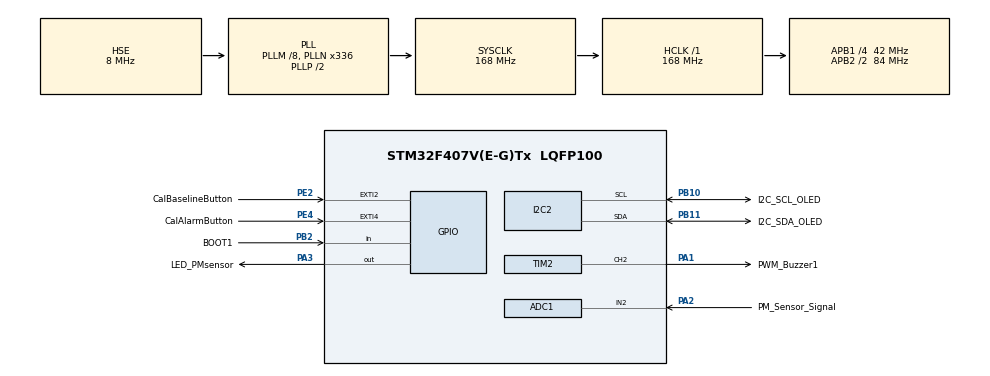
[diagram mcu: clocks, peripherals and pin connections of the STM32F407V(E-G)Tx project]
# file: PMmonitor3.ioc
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Mcu.Family=STM32F4
PH0-OSC_IN.Signal=RCC_OSC_IN
RCC.CortexFreq_Value=168000000
PB10.Mode=I2C
SH.ADCx_IN2.0=ADC1_IN2,IN2
PA14.GPIO_Label=SWCLK
TIM2.Channel-PWM\ Generation2\ CH2=TIM_CHANNEL_2
PB11.Signal=I2C2_SDA
RCC.SYSCLKSource=RCC_SYSCLKSOURCE_PLLCLK
ProjectManager.StackSize=0x400
RCC.HCLKFreq_Value=168000000
RCC.APB2TimFreq_Value=168000000
RCC.AHBFreq_Value=168000000
PH0-OSC_IN.Mode=HSE-External-Oscillator
PH0-OSC_IN.GPIO_Label=PH0-OSC_IN
ADC1.Channel-0\#ChannelRegularConversion=ADC_CHANNEL_2
RCC.HSE_VALUE=8000000
PB2.Signal=GPIO_Input
PA14.Mode=Serial_Wire
PE4.GPIO_Label=CalAlarmButton
PE2.Signal=GPXTI2
PE4.Signal=GPXTI4
PB2.GPIO_PuPd=GPIO_NOPULL
ADC1.SamplingTime-0\#ChannelRegularConversion=ADC_SAMPLETIME_3CYCLES
PH1-OSC_OUT.Mode=HSE-External-Oscillator
Mcu.Package=LQFP100
TIM2.Prescaler=160
PA2.GPIO_Label=PM_Sensor_Signal
TIM2.Pulse-PWM\ Generation2\ CH2=127
RCC.APB2CLKDivider=RCC_HCLK_DIV2
NVIC.EXTI2_IRQn=true\:0\:0\:false\:false\:true\:true\:true
RCC.APB1TimFreq_Value=84000000
I2C2.I2C_Mode=I2C_Fast
PE2.GPIO_Label=CalBaselineButton
PA3.Signal=GPIO_Output
PB3.GPIO_Label=SWO
RCC.PLLSourceVirtual=RCC_PLLSOURCE_HSE
NVIC.EXTI4_IRQn=true\:0\:0\:false\:false\:true\:true\:true
ADC1.Rank-0\#ChannelRegularConversion=1
PE4.GPIO_ModeDefaultEXTI=GPIO_MODE_IT_FALLING
PB11.GPIO_Label=I2C_SDA_OLED
RCC.APB1CLKDivider=RCC_HCLK_DIV4
PA13.Signal=SYS_JTMS-SWDIO
SH.S_TIM2_CH2.0=TIM2_CH2,PWM Generation2 CH2
PB11.Mode=I2C
ProjectManager.TargetToolchain=STM32CubeIDE
PB10.GPIO_Label=I2C_SCL_OLED
RCC.LSE_VALUE=32768
PA1.Signal=S_TIM2_CH2
PB10.Signal=I2C2_SCL
PE2.GPIO_PuPd=GPIO_PULLUP
board=STM32F407G-DISC1
RCC.VCOOutputFreq_Value=336000000
RCC.APB2Freq_Value=84000000
PB2.GPIO_Mode=GPIO_MODE_INPUT
VP_TIM2_VS_ClockSourceINT.Mode=Internal
PA1.GPIO_Label=PWM_Buzzer1
PH1-OSC_OUT.Signal=RCC_OSC_OUT
PH1-OSC_OUT.GPIO_Label=PH1-OSC_OUT
TIM2.Period=255
PA13.Mode=Serial_Wire
Mcu.Name=STM32F407V(E-G)Tx
PA13.GPIO_Label=SWDIO
PA2.Signal=ADCx_IN2
PE4.GPIO_PuPd=GPIO_PULLUP
RCC.48MHZClocksFreq_Value=48000000
PB3.Signal=SYS_JTDO-SWO
RCC.SYSCLKFreq_VALUE=168000000
ADC1.master=1
PA14.Signal=SYS_JTCK-SWCLK
PB2.GPIO_Label=BOOT1
ProjectManager.HeapSize=0x200
RCC.HSI_VALUE=16000000
RCC.PLLQ=7
NVIC.PriorityGroup=NVIC_PRIORITYGROUP_0
ADC1.NbrOfConversionFlag=1
RCC.PLLM=8
RCC.PLLN=336
TIM2.AutoReloadPreload=TIM_AUTORELOAD_PRELOAD_ENABLE
PE2.GPIO_ModeDefaultEXTI=GPIO_MODE_IT_FALLING
RCC.APB1Freq_Value=42000000
PA3.GPIO_Label=LED_PMsensor

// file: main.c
/* USER CODE BEGIN Header */
/**
  ******************************************************************************
  * @file           : main.c
  * @brief          : Main program body
  ******************************************************************************
  * @attention
  *
  * <h2><center>&copy; Copyright (c) 2022 STMicroelectronics.
  * All rights reserved.</center></h2>
  *
  * This software component is licensed by ST under Ultimate Liberty license
  * SLA0044, the "License"; You may not use this file except in compliance with
  * the License. You may obtain a copy of the License at:
  *                             www.st.com/SLA0044
  *
  ******************************************************************************
  */
/* USER CODE END Header */
#include "main.h"
#include "adc.h"
#include "i2c.h"
#include "tim.h"
#include "gpio.h"

void SystemClock_Config(void);

int main(void)
{
  /* USER CODE BEGIN 1 */
//uint16_t raw;
//char msg[10];
//char modeData[10];
  /* USER CODE END 1 */

  /* MCU Configuration--------------------------------------------------------*/

  /* Reset of all peripherals, Initializes the Flash interface and the Systick. */
  HAL_Init();

  /* USER CODE BEGIN Init */

mode = START;
  /* USER CODE END Init */

  /* Configure the system clock */
  SystemClock_Config();

  /* Initialize all configured peripherals */
  MX_GPIO_Init();
  MX_I2C2_Init();
  MX_TIM2_Init();
  MX_ADC1_Init();

  /* Infinite loop */
  /* USER CODE BEGIN WHILE */
  while (1)
  {
	  /*HAL_GPIO_WritePin(GPIOA,GPIO_PIN_3, GPIO_PIN_RESET);
	  HAL_Delay(280);
	  HAL_ADC_Start(&hadc1);
	  HAL_ADC_PollForConversion(&hadc1, HAL_MAX_DELAY);
	  HAL_GPIO_WritePin(GPIOA,GPIO_PIN_3, GPIO_PIN_SET);

	  raw = HAL_ADC_GetValue(&hadc1);

*/
	 /* takeAveMeasurement(GPIOA, GPIO_PIN_3, &hadc1, 5);

	  sprintf(msg, "%hu", aveMeasurement);
	  	  SSD1306_Clear();
	  	  SSD1306_GotoXY (10,10); // goto 10, 10
	  	  SSD1306_Puts(msg, &Font_7x10, 1);
	  	  //SSD1306_UpdateScreen(); // update screen

	  	  sprintf(modeData, "%hu", mode);
	  	  SSD1306_GotoXY (10,30); // goto 10, 10
	  	  SSD1306_Puts(modeData, &Font_7x10, 1);
	  	  SSD1306_UpdateScreen(); // update screen */

switch (mode){

	case (START):
		  SSD1306_Init (); // initialize the display
		  SSD1306_GotoXY (10,10); // goto 10, 10
		  SSD1306_Puts ("LCD & Buzzer", &Font_11x18, 1); // Display startup test text
		  SSD1306_GotoXY (10, 30);
		  SSD1306_Puts ("Test", &Font_11x18, 1);
		  SSD1306_UpdateScreen(); // update screen

		  HAL_Delay(200);
		  HAL_TIM_PWM_Start(&htim2, TIM_CHANNEL_2); // Perform startup buzzer test
		  HAL_Delay(50);
		  HAL_TIM_PWM_Stop(&htim2, TIM_CHANNEL_2);
		  SSD1306_Clear();
		  mode = MEASURE; // go to measure mode
		  break;
	case (MEASURE):
		takeAveMeasurement(GPIOA, GPIO_PIN_3, &hadc1, numSamples); // take an average PM measurement
		showData();  // update screen
		if(aveMeasurement >= alarmLevel)			// if sample is above alarm level, sound alarm
		{
			alarm();
		}
		break;
	case (CAL_BASELINE):						// baseline cal mode initiated via push button GPIO interrupt
		takeBaseline(GPIOA, GPIO_PIN_3, &hadc1, numAverages);	// take average of many samples and store as baseline
		showData();
		mode = MEASURE;
		break;
	case (CAL_ALARM_LEVEL):						// alarm level cal mode initiated via push button GPIO interrupt
		storeAlarmLevel(GPIOA, GPIO_PIN_3, &hadc1, numAverages);	//take average of many samples and store as alarm threshold
		showData();
		mode = MEASURE;
		break;
}

    /* USER CODE END WHILE */

  }
}

void SystemClock_Config(void)
{
  RCC_OscInitTypeDef RCC_OscInitStruct = {0};
  RCC_ClkInitTypeDef RCC_ClkInitStruct = {0};

  /** Configure the main internal regulator output voltage
  */
  __HAL_RCC_PWR_CLK_ENABLE();
  __HAL_PWR_VOLTAGESCALING_CONFIG(PWR_REGULATOR_VOLTAGE_SCALE1);
  /** Initializes the RCC Oscillators according to the specified parameters
  * in the RCC_OscInitTypeDef structure.
  */
  RCC_OscInitStruct.OscillatorType = RCC_OSCILLATORTYPE_HSE;
  RCC_OscInitStruct.HSEState = RCC_HSE_ON;
  RCC_OscInitStruct.PLL.PLLState = RCC_PLL_ON;
  RCC_OscInitStruct.PLL.PLLSource = RCC_PLLSOURCE_HSE;
  RCC_OscInitStruct.PLL.PLLM = 8;
  RCC_OscInitStruct.PLL.PLLN = 336;
  RCC_OscInitStruct.PLL.PLLP = RCC_PLLP_DIV2;
  RCC_OscInitStruct.PLL.PLLQ = 7;
  if (HAL_RCC_OscConfig(&RCC_OscInitStruct) != HAL_OK)
  {
    Error_Handler();
  }
  /** Initializes the CPU, AHB and APB buses clocks
  */
  RCC_ClkInitStruct.ClockType = RCC_CLOCKTYPE_HCLK|RCC_CLOCKTYPE_SYSCLK
                              |RCC_CLOCKTYPE_PCLK1|RCC_CLOCKTYPE_PCLK2;
  RCC_ClkInitStruct.SYSCLKSource = RCC_SYSCLKSOURCE_PLLCLK;
  RCC_ClkInitStruct.AHBCLKDivider = RCC_SYSCLK_DIV1;
  RCC_ClkInitStruct.APB1CLKDivider = RCC_HCLK_DIV4;
  RCC_ClkInitStruct.APB2CLKDivider = RCC_HCLK_DIV2;

  if (HAL_RCC_ClockConfig(&RCC_ClkInitStruct, FLASH_LATENCY_5) != HAL_OK)
  {
    Error_Handler();
  }
}

void Error_Handler(void)
{
  __disable_irq();
  while (1)
  {
  }
}

/************************ (C) COPYRIGHT STMicroelectronics *****END OF FILE****/
